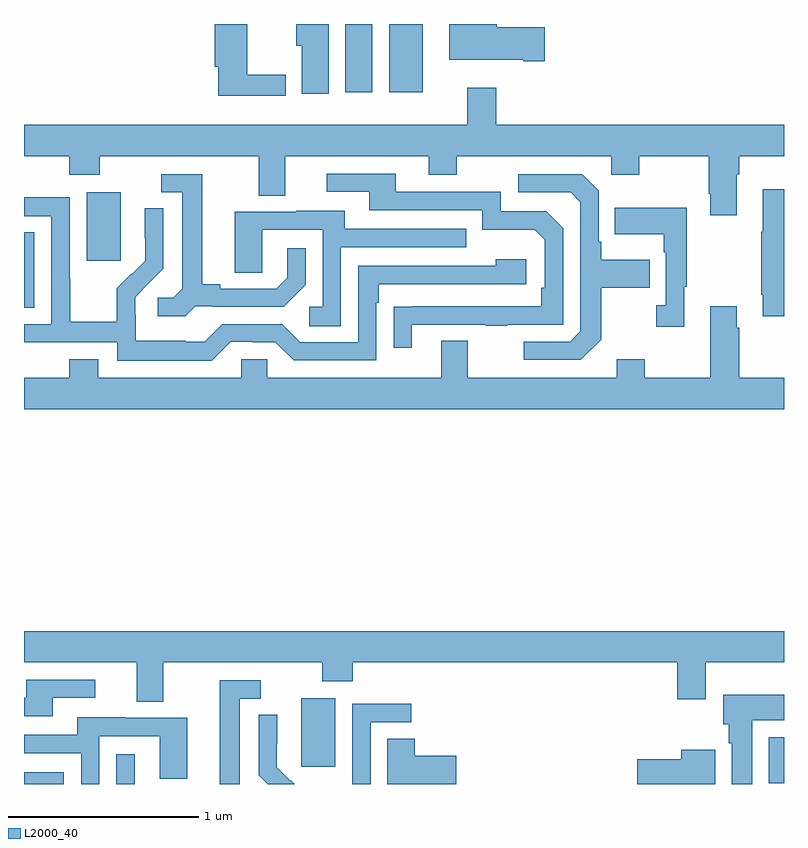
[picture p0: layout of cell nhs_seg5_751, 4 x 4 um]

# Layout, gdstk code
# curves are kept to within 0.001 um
import gdstk
lib = gdstk.Library(unit=1e-6, precision=1e-09)
def R(c, l, rs):  # rectangles x0, y0, x1, y1
    for r in rs: c.add(gdstk.rectangle(r[:2], r[2:], *l))
def P(c, l, *ps):  # polygons
    for p in ps: c.add(gdstk.Polygon(p, *l))
L2000_40 = (2000, 40)

nhs_seg5_751 = lib.new_cell('nhs_seg5_751')
R(nhs_seg5_751, L2000_40, [(159,842.799,159.21,842.862), (159.486,842.799,159.583,842.956), (162.92,842.804,163,843.046), (160.46,842.889,160.639,843.25), (159,845.305,159.055,845.702), (159.329,845.553,159.508,845.914), (160.691,846.44,160.834,846.799), (160.922,846.44,161.098,846.799)])
P(nhs_seg5_751, L2000_40, [(160.603,846.799),(160.433,846.799),(160.433,846.685),(160.463,846.685),(160.463,846.432),(160.603,846.432)],
  [(160.378,846.532),(160.174,846.532),(160.174,846.799),(160.004,846.799),(160.004,846.573),(160.022,846.573),(160.022,846.422),(160.378,846.422)],
  [(161.74,846.782),(161.488,846.782),(161.488,846.799),(161.237,846.799),(161.237,846.611),(161.627,846.611),(161.627,846.604),(161.74,846.604)],
  [(162.751,846.008),(162.764,846.008),(162.764,846.104),(163,846.104),(163,846.268),(161.486,846.268),(161.486,846.463),(161.333,846.463),(161.333,846.268),(159,846.268),(159,846.104),(159.239,846.104),(159.239,846.005),(159.399,846.005),(159.399,846.104),(160.235,846.104),(160.235,845.896),(160.375,845.896),(160.375,846.104),(161.129,846.104),(161.129,846.005),(161.277,846.005),(161.277,846.104),(162.09,846.104),(162.09,846.005),(162.237,846.005),(162.237,846.104),(162.604,846.104),(162.604,845.905),(162.611,845.905),(162.611,845.793),(162.751,845.793)],
  [(161.041,845.217),(161.431,845.217),(161.431,845.212),(161.543,845.212),(161.543,845.217),(161.838,845.217),(161.838,845.724),(161.748,845.814),(161.508,845.814),(161.508,845.916),(160.957,845.916),(160.957,846.012),(160.593,846.012),(160.593,845.916),(160.817,845.916),(160.817,845.82),(161.412,845.82),(161.412,845.717),(161.689,845.717),(161.742,845.664),(161.742,845.41),(161.722,845.41),(161.722,845.313),(160.945,845.312),(160.945,845.094),(161.041,845.094)],
  [(159.9,845.313),(159.994,845.313),(159.994,845.31),(160.366,845.31),(160.482,845.426),(160.482,845.62),(160.385,845.62),(160.385,845.463),(160.328,845.406),(160.033,845.406),(160.033,845.429),(159.937,845.429),(159.937,846.009),(159.723,846.009),(159.723,845.913),(159.833,845.913),(159.833,845.405),(159.786,845.358),(159.705,845.358),(159.705,845.261),(159.848,845.261)],
  [(162.037,845.137),(162.037,845.41),(162.293,845.41),(162.293,845.557),(162.037,845.557),(162.037,845.653),(162.024,845.653),(162.024,845.922),(161.937,846.009),(161.601,846.009),(161.601,845.913),(161.877,845.913),(161.928,845.862),(161.928,845.181),(161.874,845.127),(161.631,845.127),(161.631,845.031),(161.931,845.031)],
  [(163,845.929),(162.887,845.929),(162.887,845.705),(162.88,845.705),(162.88,845.374),(162.887,845.374),(162.887,845.262),(163,845.262)],
  [(160.089,845.127),(160.205,845.127),(160.205,845.124),(160.323,845.124),(160.419,845.028),(160.854,845.028),(160.854,845.333),(160.867,845.333),(160.867,845.43),(161.644,845.43),(161.644,845.56),(161.483,845.56),(161.483,845.526),(160.758,845.526),(160.758,845.124),(160.455,845.124),(160.359,845.22),(160.044,845.22),(159.951,845.127),(159.851,845.127),(159.851,845.131),(159.588,845.131),(159.588,845.265),(159.586,845.265),(159.586,845.362),(159.732,845.51),(159.732,845.828),(159.636,845.828),(159.636,845.674),(159.638,845.674),(159.638,845.552),(159.567,845.481),(159.564,845.484),(159.487,845.407),(159.487,845.233),(159.243,845.233),(159.243,845.456),(159.24,845.456),(159.24,845.886),(159,845.886),(159,845.787),(159.144,845.787),(159.144,845.22),(159,845.22),(159,845.124),(159.492,845.124),(159.492,845.027),(159.989,845.027)],
  [(162.475,845.417),(162.487,845.417),(162.487,845.833),(162.109,845.833),(162.109,845.693),(162.366,845.693),(162.366,845.597),(162.378,845.597),(162.378,845.318),(162.327,845.318),(162.327,845.205),(162.475,845.205)],
  [(160.668,845.625),(161.327,845.625),(161.327,845.721),(160.687,845.721),(160.687,845.815),(160.433,845.815),(160.433,845.811),(160.109,845.811),(160.109,845.491),(160.254,845.491),(160.254,845.715),(160.572,845.715),(160.572,845.31),(160.5,845.31),(160.5,845.209),(160.668,845.209)],
  [(163,844.936),(162.764,844.936),(162.764,845.201),(162.751,845.201),(162.751,845.314),(162.611,845.314),(162.611,844.936),(162.267,844.936),(162.267,845.035),(162.119,845.035),(162.119,844.936),(161.335,844.936),(161.335,845.131),(161.195,845.131),(161.195,844.936),(160.281,844.936),(160.281,845.034),(160.143,845.034),(160.143,844.936),(159.391,844.936),(159.391,845.035),(159.239,845.035),(159.239,844.936),(159,844.936),(159,844.772),(163,844.772)],
  [(159.733,843.44),(160.57,843.44),(160.57,843.341),(160.73,843.341),(160.73,843.44),(162.437,843.44),(162.437,843.246),(162.589,843.246),(162.589,843.44),(163,843.44),(163,843.604),(159,843.604),(159,843.44),(159.593,843.44),(159.593,843.232),(159.733,843.232)],
  [(159.151,843.252),(159.376,843.252),(159.376,843.348),(159.011,843.348),(159.011,843.252),(159,843.252),(159,843.156),(159.151,843.156)],
  [(160.135,843.249),(160.246,843.249),(160.246,843.345),(160.031,843.345),(160.031,842.799),(160.135,842.799)],
  [(162.832,843.134),(163,843.134),(163,843.268),(162.68,843.268),(162.68,843.114),(162.71,843.114),(162.71,843.014),(162.725,843.014),(162.725,842.799),(162.832,842.799)],
  [(160.824,843.123),(161.038,843.123),(161.038,843.222),(160.728,843.222),(160.728,842.799),(160.824,842.799)],
  [(160.404,842.82),(160.401,842.817),(160.331,842.888),(160.331,843.01),(160.332,843.01),(160.332,843.164),(160.236,843.164),(160.236,842.846),(160.283,842.799),(160.425,842.799)],
  [(159.396,843.051),(159.714,843.051),(159.714,842.827),(159.859,842.827),(159.859,843.147),(159.535,843.147),(159.535,843.151),(159.281,843.151),(159.281,843.057),(159,843.057),(159,842.961),(159.3,842.961),(159.3,842.799),(159.396,842.799)],
  [(161.275,842.948),(161.057,842.948),(161.057,843.038),(160.913,843.038),(160.913,842.799),(161.275,842.799)],
  [(162.637,842.98),(162.458,842.98),(162.458,842.93),(162.228,842.93),(162.228,842.799),(162.637,842.799)])

lib.write_gds('nhs_seg5_751.gds')
